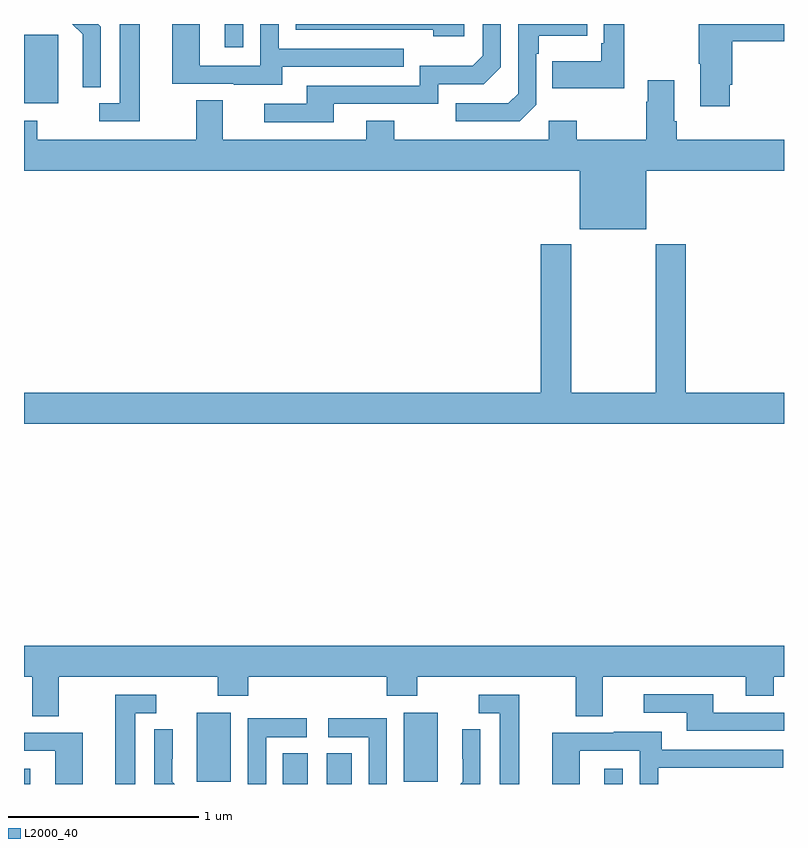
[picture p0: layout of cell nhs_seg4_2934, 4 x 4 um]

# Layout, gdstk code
import gdstk
lib = gdstk.Library(unit=1e-6, precision=1e-09)
def R(c, l, rs):  # rectangles x0, y0, x1, y1
    for r in rs: c.add(gdstk.rectangle(r[:2], r[2:], *l))
def P(c, l, *ps):  # polygons
    for p in ps: c.add(gdstk.Polygon(p, *l))
L2000_40 = (2000, 40)

nhs_seg4_2934 = lib.new_cell('nhs_seg4_2934')
R(nhs_seg4_2934, L2000_40, [(265,818.9,265.033,818.98), (266.363,818.9,266.494,819.062), (266.594,818.9,266.725,819.062), (268.055,818.9,268.152,818.98), (265.91,818.913,266.089,819.274), (266.999,818.913,267.178,819.274), (265.001,822.482,265.18,822.843), (266.057,822.777,266.154,822.9)])
P(nhs_seg4_2934, L2000_40, [(268.714,822.58),(268.727,822.58),(268.727,822.808),(269,822.808),(269,822.9),(268.552,822.9),(268.552,822.691),(268.559,822.691),(268.559,822.468),(268.714,822.468)],
  [(266.629,822.48),(267.18,822.48),(267.18,822.582),(267.42,822.582),(267.51,822.672),(267.51,822.9),(267.414,822.9),(267.414,822.732),(267.361,822.679),(267.084,822.679),(267.084,822.576),(266.489,822.576),(266.489,822.48),(266.265,822.48),(266.265,822.384),(266.629,822.384)],
  [(266.359,822.675),(266.999,822.675),(266.999,822.771),(266.34,822.771),(266.34,822.9),(266.244,822.9),(266.244,822.681),(265.926,822.681),(265.926,822.9),(265.781,822.9),(265.781,822.585),(266.105,822.585),(266.105,822.581),(266.359,822.581)],
  [(268.159,822.9),(268.05,822.9),(268.05,822.799),(268.038,822.799),(268.038,822.703),(267.781,822.703),(267.781,822.563),(268.159,822.563)],
  [(265.609,822.9),(265.505,822.9),(265.505,822.483),(265.395,822.483),(265.395,822.387),(265.609,822.387)],
  [(267.696,822.474),(267.696,822.743),(267.709,822.743),(267.709,822.839),(267.965,822.839),(267.965,822.9),(267.6,822.9),(267.6,822.534),(267.549,822.483),(267.273,822.483),(267.273,822.387),(267.609,822.387)],
  [(267.316,822.9),(266.43,822.9),(266.43,822.87),(267.155,822.87),(267.155,822.836),(267.316,822.836)],
  [(265.404,822.886),(265.39,822.9),(265.254,822.9),(265.31,822.845),(265.31,822.722),(265.308,822.722),(265.308,822.568),(265.404,822.568)],
  [(268.276,822.128),(269,822.128),(269,822.292),(268.436,822.292),(268.436,822.388),(268.423,822.388),(268.423,822.604),(268.283,822.604),(268.283,822.491),(268.276,822.491),(268.276,822.292),(267.909,822.292),(267.909,822.391),(267.762,822.391),(267.762,822.292),(266.949,822.292),(266.949,822.391),(266.801,822.391),(266.801,822.292),(266.047,822.292),(266.047,822.5),(265.907,822.5),(265.907,822.292),(265.071,822.292),(265.071,822.391),(265,822.391),(265,822.128),(267.926,822.128),(267.926,821.819),(268.276,821.819)],
  [(269,820.96),(268.484,820.96),(268.484,821.74),(268.324,821.74),(268.324,820.96),(267.879,820.96),(267.879,821.74),(267.719,821.74),(267.719,820.96),(265,820.96),(265,820.796),(269,820.796)],
  [(265.183,819.464),(266.02,819.464),(266.02,819.365),(266.18,819.365),(266.18,819.464),(266.909,819.464),(266.909,819.365),(267.069,819.365),(267.069,819.464),(267.905,819.464),(267.905,819.256),(268.045,819.256),(268.045,819.464),(268.799,819.464),(268.799,819.365),(268.947,819.365),(268.947,819.464),(269,819.464),(269,819.628),(265,819.628),(265,819.464),(265.043,819.464),(265.043,819.256),(265.183,819.256)],
  [(269,819.276),(268.627,819.276),(268.627,819.372),(268.263,819.372),(268.263,819.276),(268.487,819.276),(268.487,819.18),(269,819.18)],
  [(265.585,819.273),(265.696,819.273),(265.696,819.369),(265.481,819.369),(265.481,818.9),(265.585,818.9)],
  [(267.607,819.369),(267.393,819.369),(267.393,819.273),(267.503,819.273),(267.503,818.9),(267.607,818.9)],
  [(266.274,819.147),(266.488,819.147),(266.488,819.246),(266.178,819.246),(266.178,818.9),(266.274,818.9)],
  [(266.91,819.246),(266.601,819.246),(266.601,819.147),(266.814,819.147),(266.814,818.9),(266.91,818.9)],
  [(265.781,818.912),(265.781,819.034),(265.782,819.034),(265.782,819.188),(265.686,819.188),(265.686,818.9),(265.793,818.9)],
  [(267.402,819.188),(267.306,819.188),(267.306,819.034),(267.308,819.034),(267.308,818.912),(267.296,818.9),(267.402,818.9)],
  [(267.924,819.075),(268.242,819.075),(268.242,818.9),(268.338,818.9),(268.338,818.985),(268.997,818.985),(268.997,819.081),(268.357,819.081),(268.357,819.175),(268.103,819.175),(268.103,819.171),(267.779,819.171),(267.779,818.9),(267.924,818.9)],
  [(265.309,819.171),(265,819.171),(265,819.075),(265.164,819.075),(265.164,818.9),(265.309,818.9)])

lib.write_gds('nhs_seg4_2934.gds')
